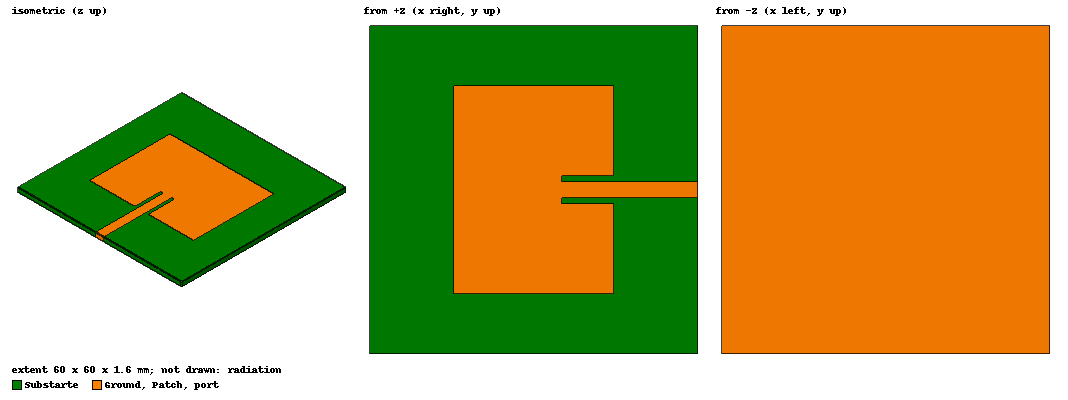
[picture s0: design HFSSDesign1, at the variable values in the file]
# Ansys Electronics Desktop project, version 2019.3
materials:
  vacuum: permittivity=1
  FR4_epoxy: permittivity=4.4 dielectric_loss_tangent=0.02

design HFSSDesign1 (HFSS, DrivenModal, model units mm)
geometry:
  Ground = rectangle(corner=(-30mm, -30mm, 0mm), x_size=60mm, y_size=60mm)
  Substarte [FR4_epoxy] = box(corner=(-30mm, -30mm, 0mm), size=(60mm, 60mm, 1.6mm))
  Patch = rectangle(corner=((-29.4/2) mm, (-38/2) mm, 1.6mm), x_size=29.4mm, y_size=38mm)
  feed = rectangle(corner=(0mm, -1.5mm, 1.6mm), x_size=30mm, y_size=3mm)
  cut = rectangle(corner=(14.7mm, -2.5mm, 1.6mm), x_size=-9.5mm, y_size=5mm)
  Patch.subtract(cut)
  Patch.unite(feed)
  port = rectangle(corner=(30mm, -1.5mm, 1.6mm), y_size=3mm, z_size=-1.6mm)
  radiation [vacuum] = box(corner=(-40mm, -40mm, -20mm), size=(80mm, 80mm, 40mm))
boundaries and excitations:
  PerfE1: Perfect E Objects=[Patch, Ground]
  Rad1: Radiation Objects=radiation
  1: Lumped Port Objects=port Modes{Mode1{IntLine{middle of port.edge(z at corner) -> middle of port.edge(z opposite corner)} CharImp=Zpi RenormImp=50ohm}} Impedance=50ohm
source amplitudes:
  1:1: 1W 0deg
